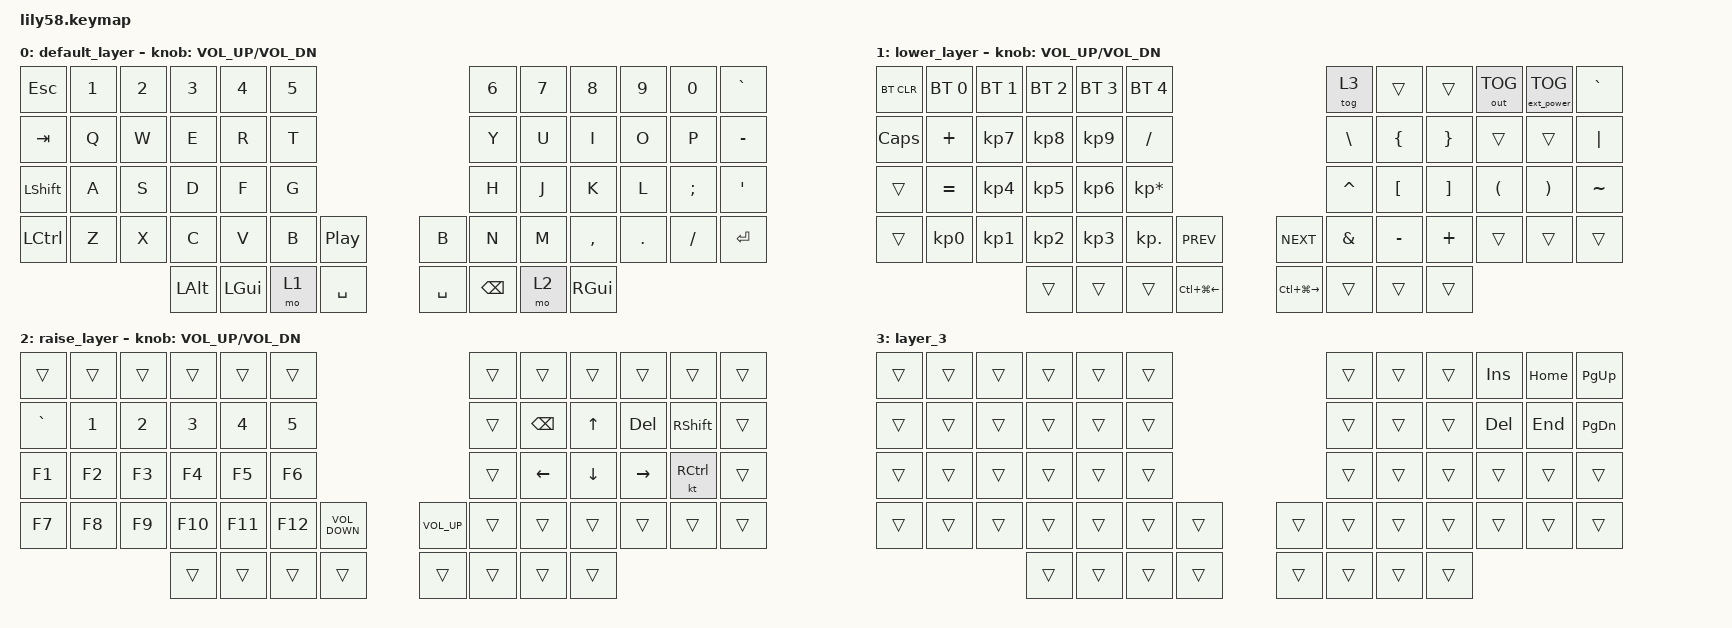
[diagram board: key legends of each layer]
/*
 * Copyright (c) 2020 The ZMK Contributors
 *
 * SPDX-License-Identifier: MIT
 */

#include <behaviors.dtsi>
#include <dt-bindings/zmk/bt.h>
#include <dt-bindings/zmk/ext_power.h>
#include <dt-bindings/zmk/keys.h>
#include <dt-bindings/zmk/outputs.h>

/ {
    keymap {
        compatible = "zmk,keymap";

        default_layer {
            // ------------------------------------------------------------------------------------------------------------
            // |  ESC  |  1  |  2  |  3   |  4   |  5   |                   |  6   |  7    |  8    |  9   |   0   |   `   |
            // |  TAB  |  Q  |  W  |  E   |  R   |  T   |                   |  Y   |  U    |  I    |  O   |   P   |   -   |
            // |  CTRL |  A  |  S  |  D   |  F   |  G   |                   |  H   |  J    |  K    |  L   |   ;   |   '   |
            // | SHIFT |  Z  |  X  |  C   |  V   |  B   |   "["  |  |  "]"  |  N   |  M    |  ,    |  .   |   /   | SHIFT |
            //                     | ALT  | GUI  | LOWER|  SPACE |  | ENTER | RAISE| BSPC  | GUI   |

            bindings = <
&kp ESC           &kp NUMBER_1  &kp N2  &kp N3    &kp N4    &kp N5                                 &kp N6         &kp N7  &kp N8     &kp N9   &kp N0    &kp GRAVE
&kp TAB           &kp Q         &kp W   &kp E     &kp R     &kp T                                  &kp Y          &kp U   &kp I      &kp O    &kp P     &kp MINUS
&kp LEFT_SHIFT    &kp A         &kp S   &kp D     &kp F     &kp G                                  &kp H          &kp J   &kp K      &kp L    &kp SEMI  &kp SQT
&kp LEFT_CONTROL  &kp Z         &kp X   &kp C     &kp V     &kp B   &kp C_PLAY_PAUSE    &kp B      &kp N          &kp M   &kp COMMA  &kp DOT  &kp FSLH  &kp ENTER
                                        &kp LALT  &kp LGUI  &mo 1   &kp SPACE           &kp SPACE  &kp BACKSPACE  &mo 2   &kp RGUI
            >;

            sensor-bindings = <&inc_dec_kp C_VOL_UP C_VOL_DN>;
        };

        lower_layer {
            // ------------------------------------------------------------------------------------------------------------
            // | BTCLR | BT1 | BT2 |  BT3 |  BT4 |  BT5 |                   |      |       |       |      |       |       |
            // |  F1   |  F2 |  F3 |  F4  |  F5  |  F6  |                   |  F7  |  F8   |  F9   |  F10 |  F11  |  F12  |
            // |   `   |  !  |  @  |  #   |  $   |  %   |                   |  ^   |  &    |  *    |  (   |   )   |   ~   |
            // |       |     |     |      |      |      |        |  |       |      |  _    |  +    |  {   |   }   |  "|"  |
            //                     |      |      |      |        |  |       |      |       |       |

            bindings = <
&bt BT_CLR  &bt BT_SEL 0     &bt BT_SEL 1     &bt BT_SEL 2     &bt BT_SEL 3     &bt BT_SEL 4                                            &tog 3         &trans            &trans             &out OUT_TOG  &ext_power EP_TOG  &kp GRAVE
&kp CAPS    &kp PLUS         &kp KP_NUMBER_7  &kp KP_NUMBER_8  &kp KP_NUMBER_9  &kp SLASH                                               &kp BACKSLASH  &kp LBRC          &kp RBRC           &trans        &trans             &kp PIPE
&trans      &kp EQUAL        &kp KP_NUMBER_4  &kp KP_NUMBER_5  &kp KP_NUMBER_6  &kp KP_MULTIPLY                                         &kp CARET      &kp LEFT_BRACKET  &kp RIGHT_BRACKET  &kp LPAR      &kp RPAR           &kp TILDE
&trans      &kp KP_NUMBER_0  &kp KP_NUMBER_1  &kp KP_NUMBER_2  &kp KP_NUMBER_3  &kp KP_DOT       &kp C_PREV          &kp C_NEXT         &kp AMPERSAND  &kp MINUS         &kp PLUS           &trans        &trans             &trans
                                              &trans           &trans           &trans           &kp LC(LG(LEFT))    &kp LC(LG(RIGHT))  &trans         &trans            &trans
            >;

            sensor-bindings = <&inc_dec_kp C_VOL_UP C_VOL_DN>;
        };

        raise_layer {
            // ------------------------------------------------------------------------------------------------------------
            // |       |     |     |      |      |      |                   |      |       |       |      |       |       |
            // |   `   |  1  |  2  |  3   |  4   |  5   |                   |  6   |   7   |   8   |  9   |   0   |       |
            // |   F1  |  F2 |  F3 |  F4  |  F5  |  F6  |                   |      |   <-  |   v   |  ^   |  ->   |       |
            // |   F7  |  F8 |  F9 |  F10 |  F11 |  F12 |        |  |       |  +   |   -   |   =   |  [   |   ]   |   \   |
            //                     |      |      |      |        |  |       |      |       |       |

            bindings = <
&trans     &trans  &trans  &trans   &trans   &trans                                         &trans  &trans         &trans        &trans           &trans             &trans
&kp GRAVE  &kp N1  &kp N2  &kp N3   &kp N4   &kp N5                                         &trans  &kp BACKSPACE  &kp UP_ARROW  &kp DELETE       &kp RIGHT_SHIFT    &trans
&kp F1     &kp F2  &kp F3  &kp F4   &kp F5   &kp F6                                         &trans  &kp LEFT       &kp DOWN      &kp RIGHT_ARROW  &kt RIGHT_CONTROL  &trans
&kp F7     &kp F8  &kp F9  &kp F10  &kp F11  &kp F12  &kp C_VOLUME_DOWN    &kp C_VOLUME_UP  &trans  &trans         &trans        &trans           &trans             &trans
                           &trans   &trans   &trans   &trans               &trans           &trans  &trans         &trans
            >;

            sensor-bindings = <&inc_dec_kp C_VOL_UP C_VOL_DN>;
        };

        layer_3 {
            bindings = <
&trans  &trans  &trans  &trans  &trans  &trans                    &trans  &trans  &trans  &kp INS     &kp HOME  &kp PAGE_UP
&trans  &trans  &trans  &trans  &trans  &trans                    &trans  &trans  &trans  &kp DELETE  &kp END   &kp PAGE_DOWN
&trans  &trans  &trans  &trans  &trans  &trans                    &trans  &trans  &trans  &trans      &trans    &trans
&trans  &trans  &trans  &trans  &trans  &trans  &trans    &trans  &trans  &trans  &trans  &trans      &trans    &trans
                        &trans  &trans  &trans  &trans    &trans  &trans  &trans  &trans
            >;
        };
    };
};
